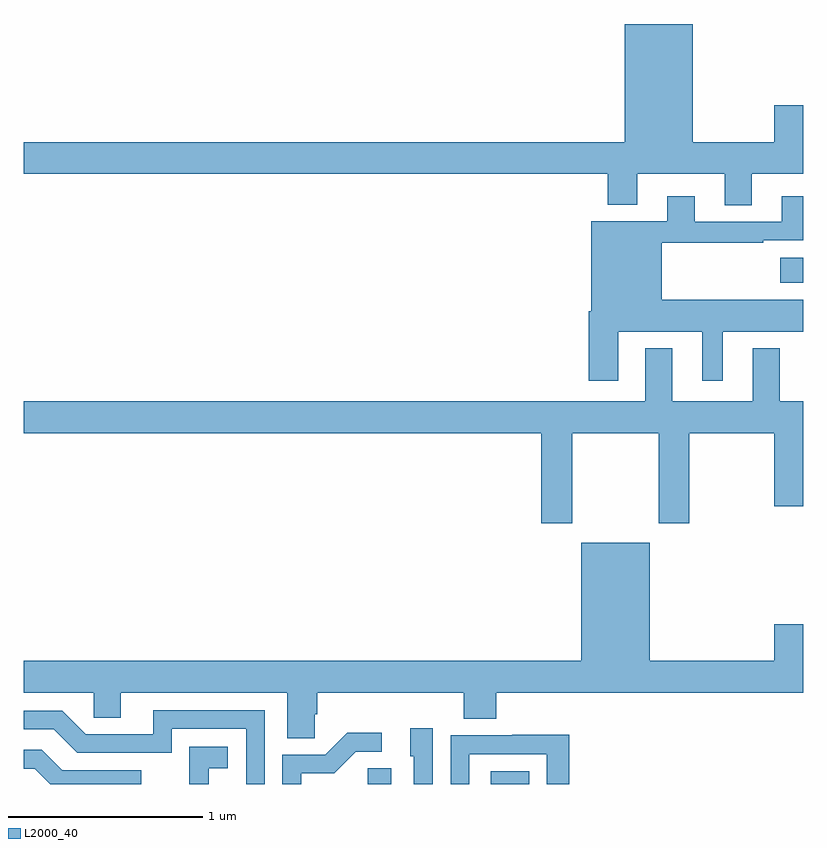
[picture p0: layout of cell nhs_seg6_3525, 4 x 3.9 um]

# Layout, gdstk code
import gdstk
lib = gdstk.Library(unit=1e-6, precision=1e-09)
def R(c, l, rs):  # rectangles x0, y0, x1, y1
    for r in rs: c.add(gdstk.rectangle(r[:2], r[2:], *l))
def P(c, l, *ps):  # polygons
    for p in ps: c.add(gdstk.Polygon(p, *l))
L2000_40 = (2000, 40)

nhs_seg6_3525 = lib.new_cell('nhs_seg6_3525')
R(nhs_seg6_3525, L2000_40, [(318.765,981.5,318.886,981.581), (319.397,981.5,319.594,981.565), (320.883,984.074,321,984.202)])
P(nhs_seg6_3525, L2000_40, [(320.737,984.632),(321,984.632),(321,984.985),(320.852,984.985),(320.852,984.796),(320.434,984.796),(320.434,985.402),(320.084,985.402),(320.084,984.796),(317,984.796),(317,984.632),(319.997,984.632),(319.997,984.473),(320.149,984.473),(320.149,984.632),(320.597,984.632),(320.597,984.472),(320.737,984.472)],
  [(320.05,983.822),(320.483,983.822),(320.483,983.571),(320.587,983.571),(320.587,983.822),(321,983.822),(321,983.986),(320.275,983.986),(320.275,984.279),(320.795,984.279),(320.795,984.291),(321,984.291),(321,984.517),(320.891,984.517),(320.891,984.387),(320.443,984.387),(320.443,984.517),(320.303,984.517),(320.303,984.388),(319.913,984.388),(319.913,983.926),(319.901,983.926),(319.901,983.571),(320.05,983.571)],
  [(320.26,982.839),(320.415,982.839),(320.415,983.3),(320.852,983.3),(320.852,982.926),(321,982.926),(321,983.464),(320.881,983.464),(320.881,983.737),(320.741,983.737),(320.741,983.464),(320.329,983.464),(320.329,983.737),(320.189,983.737),(320.189,983.464),(317,983.464),(317,983.3),(319.655,983.3),(319.655,982.839),(319.815,982.839),(319.815,983.3),(320.26,983.3)],
  [(318.492,981.859),(318.506,981.859),(318.506,981.968),(319.259,981.968),(319.259,981.835),(319.424,981.835),(319.424,981.968),(321,981.968),(321,982.321),(320.852,982.321),(320.852,982.132),(320.212,982.132),(320.212,982.738),(319.862,982.738),(319.862,982.132),(317,982.132),(317,981.968),(317.358,981.968),(317.358,981.841),(317.497,981.841),(317.497,981.968),(318.353,981.968),(318.353,981.736),(318.492,981.736)],
  [(318.237,981.879),(317.663,981.879),(317.663,981.756),(317.316,981.756),(317.196,981.876),(317,981.876),(317,981.78),(317.154,981.78),(317.274,981.66),(317.76,981.66),(317.76,981.783),(318.141,981.783),(318.141,981.5),(318.237,981.5)],
  [(319.098,981.787),(318.983,981.787),(318.983,981.642),(319.002,981.642),(319.002,981.5),(319.098,981.5)],
  [(318.423,981.555),(318.592,981.555),(318.703,981.666),(318.838,981.666),(318.838,981.764),(318.659,981.764),(318.546,981.651),(318.327,981.651),(318.327,981.5),(318.423,981.5)],
  [(319.287,981.654),(319.683,981.654),(319.683,981.5),(319.799,981.5),(319.799,981.752),(319.507,981.752),(319.507,981.75),(319.191,981.75),(319.191,981.5),(319.287,981.5)],
  [(317.948,981.581),(318.046,981.581),(318.046,981.691),(317.848,981.691),(317.848,981.5),(317.948,981.5)],
  [(317.601,981.57),(317.197,981.57),(317.092,981.675),(317,981.675),(317,981.578),(317.056,981.578),(317.134,981.5),(317.601,981.5)])

lib.write_gds('nhs_seg6_3525.gds')
